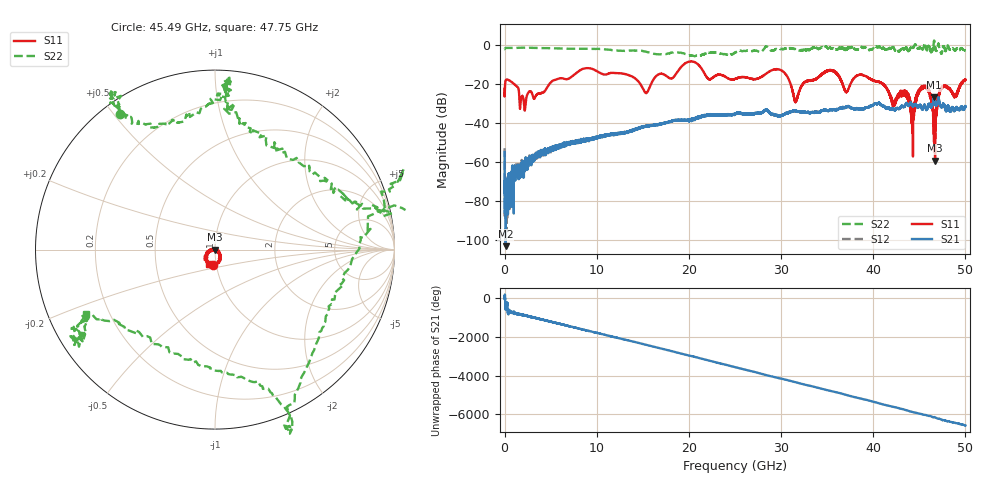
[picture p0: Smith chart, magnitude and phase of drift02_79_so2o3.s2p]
!Created with skrf (http://scikit-rf.org).
# Hz S RI R 50.0
!freq ReS11 ImS11 ReS21 ImS21 ReS12 ImS12 ReS22 ImS22
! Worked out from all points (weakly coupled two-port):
!   10001 points, 300 kHz to 50 GHz, reference 50 ohm
!   highest |S21| = -26.70 dB at 46.6 GHz (marker M1); lowest = -103.2 dB at 125.3 MHz (marker M2)
!   lowest |S11| = -59.4 dB at 46.71 GHz (marker M3), VSWR 1.00, Z = 50.1 - j0.0252 ohm
!   |S11| at or under -10 dB: start of sweep to 19.43 GHz; 21.00487 GHz to 21.00717 GHz (2.297 MHz wide, 0.0109 % of centre); 21.02 GHz to end of sweep
!   |S22| runs from -5.7 to 2.4 dB; largest |S21 - S12| = 0.0032
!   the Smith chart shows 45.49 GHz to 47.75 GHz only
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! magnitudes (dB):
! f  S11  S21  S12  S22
! 300 kHz  -22.5  -54.8  -52.9  -2.1
! 125.3 MHz  -18.0  -103.2  -74.5  -1.5
! 2.19 GHz  -33.5  -61.6  -62.6  -1.3
! 8.335 GHz  -12.5  -49.4  -49.4  -1.9
! 15.34 GHz  -24.6  -41.5  -41.8  -3.3
! 16.67 GHz  -15.1  -40.9  -40.8  -4.7
! 20.31 GHz  -8.4  -38.2  -38.3  -5.5
! 25 GHz  -17.4  -35.5  -35.6  -3.9
! 29.83 GHz  -12.6  -36.4  -36.5  -2.0
! 31.59 GHz  -28.9  -33.7  -34.0  -2.4
! 33.34 GHz  -18.0  -34.4  -34.5  -1.6
! 35.6 GHz  -13.2  -33.1  -33.2  -1.6
! 37.1 GHz  -24.1  -31.8  -31.7  -2.5
! 38.76 GHz  -15.3  -32.6  -32.6  -0.9
! 41.67 GHz  -24.1  -32.2  -32.1  -1.9
! 43.53 GHz  -24.6  -30.2  -30.4  -1.1
! 44.25 GHz  -36.3  -31.1  -31.0  -1.4
! 45.7 GHz  -21.7  -32.4  -32.6  -0.8
! 46.6 GHz  -49.9  -26.7  -26.9  1.9
! 46.71 GHz  -59.4  -30.1  -29.6  -1.2
! 47.46 GHz  -21.9  -31.7  -31.5  -3.6
! 50 GHz  -17.8  -31.3  -31.7  -2.7
